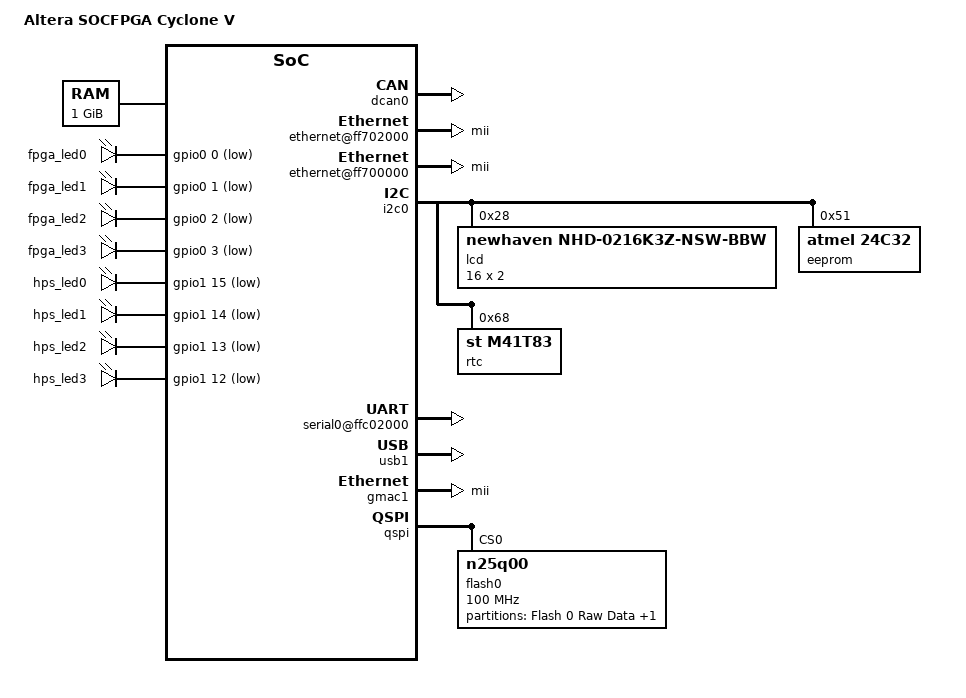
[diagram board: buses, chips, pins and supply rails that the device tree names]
/*
 * Copyright Altera Corporation (C) 2012,2014. All rights reserved.
 *
 * This program is free software; you can redistribute it and/or modify
 * it under the terms and conditions of the GNU General Public License,
 * version 2, as published by the Free Software Foundation.
 *
 * This program is distributed in the hope it will be useful, but WITHOUT
 * ANY WARRANTY; without even the implied warranty of MERCHANTABILITY or
 * FITNESS FOR A PARTICULAR PURPOSE.  See the GNU General Public License for
 * more details.
 *
 * You should have received a copy of the GNU General Public License along with
 * this program.  If not, see <http://www.gnu.org/licenses/>.
 */

/dts-v1/;
/include/ "socfpga.dtsi"

/ {
	model = "Altera SOCFPGA Cyclone V";
	compatible = "altr,socfpga-cyclone5", "altr,socfpga";

	chosen {
		bootargs = "console=ttyS0,57600 hw_dispid=45";
	};

	memory {
		name = "memory";
		device_type = "memory";
		reg = <0x0 0x40000000>; /* 1 GB */
	};

	aliases {
		/* this allow the ethaddr uboot environmnet variable contents
		 * to be added to the gmac1 device tree blob.
		 */
       		 ethernet1 = &gmac1;
       		 ethernet0 = &gmac0;
	};

	soc {
		ulti_sdc_0: ulti_sdc@0xFF230000 {
			compatible = "EXOR,ulti_sdc-13.1", "EXOR,ulti_sdc-1.0", "exor,ulti_sdc-1.0", "sdhci-ultimmc";
			reg = < 0xFF230000 0x0000ffff >;
			interrupt-parent = <&intc>;
			interrupts = < 0 43 4 >;
		}; //end ulti_sdc@0x100030000 (ulti_sdc_0)

		clkmgr@ffd04000 {
			clocks {
				osc1 {
					clock-frequency = <25000000>;
				};
			};
		};

		dcan0: d_can@ffc00000 {
			status = "okay";
		};

		dwmmc0@ff704000 {
			num-slots = <1>;
			supports-highspeed;
			broken-cd;
			altr,dw-mshc-ciu-div = <3>;
			altr,dw-mshc-sdr-timing = <0 3>;

			slot@0 {
				cd-gpios = <&gpio1 18 0>;
				reg = <0>;
				bus-width = <4>;
			};
		};

		ethernet@ff702000 {
			phy-mode = "mii";
			phy-addr = <0x01>;
			status = "okay";
			reset0 = <&agpio0 0 0>;
			reset1 = <&agpio0 1 0>;
		};

		ethernet@ff700000 {
			phy-mode = "mii";
			phy-addr = <0x00>;
			status = "okay";
		};

		gpio@ff708000 {
			status = "okay";
		};

		gpio@ff709000 {
			status = "okay";
		};

		gpio@ff70a000 {
			status = "okay";
		};

		agpio0: gpio@0xff210010 {
		  compatible = "altr,pio-1.0";
		  reg = <0xff210010 0x10>;
		  interrupts = <0 44 4>;
		  width=<32>;
		  altr,interrupt_type = < 4 >;
		  #gpio-cells = <2>;
		  gpio-controller;
		  #interrupt-cells = <1>;
		  interrupt-controller;
		};		

		i2c0: i2c@ffc04000 {
			speed-mode = <0>;
			status = "okay";
		};

		serial0@ffc02000 {
			status = "okay";
		};

		sysmgr@ffd08000 {
			cpu1-start-addr = <0xffd080c4>;
		};

		usb1: usb@ffb40000 {
			status = "okay";
		};

		watchdog0: wd@ffd02000 {
			status = "okay";
		};

		leds {
			compatible = "gpio-leds";
			fpga0 {
				label = "fpga_led0";
				gpios = <&gpio0 0 1>;
			};

			fpga1 {
				label = "fpga_led1";
				gpios = <&gpio0 1 1>;
			};

			fpga2 {
				label = "fpga_led2";
				gpios = <&gpio0 2 1>;
			};

			fpga3 {
				label = "fpga_led3";
				gpios = <&gpio0 3 1>;
			};

			hps0 {
				label = "hps_led0";
				gpios = <&gpio1 15 1>;
			};

			hps1 {
				label = "hps_led1";
				gpios = <&gpio1 14 1>;
			};

			hps2 {
				label = "hps_led2";
				gpios = <&gpio1 13 1>;
			};

			hps3 {
				label = "hps_led3";
				gpios = <&gpio1 12 1>;
			};
		};
	};
};

&i2c0 {
	/*
	 * adjust the falling times to decrease the i2c frequency to 50Khz
	 * because the LCD module does not work at the standard 100Khz
	 */
	i2c-sda-falling-time-ns = <5000>;
	i2c-scl-falling-time-ns = <5000>;

	lcd: lcd@28 {
		compatible = "newhaven,nhd-0216k3z-nsw-bbw";
		reg = <0x28>;
		height = <2>;
		width = <16>;
		brightness = <8>;
	};

	eeprom@51 {
		compatible = "atmel,24c32";
		reg = <0x51>;
		pagesize = <32>;
	};

	rtc@68 {
		compatible = "st,m41t83";
		reg = <0x68>;
	};
};

&gmac1 {
	phy-mode = "mii";
	snps,phy-addr = <0x01>;
	rxd0-skew-ps = <0>;
	rxd0-skew-ps = <0>;
	rxd1-skew-ps = <0>;
	rxd2-skew-ps = <0>;
	rxd3-skew-ps = <0>;
	txen-skew-ps = <0>;
	txc-skew-ps = <2600>;
	rxdv-skew-ps = <0>;
	rxc-skew-ps = <2000>;
	max-frame-size = <3800>;
	status = "okay";
};

&qspi {
	status = "okay";
	flash0: n25q00@0 {
		#address-cells = <1>;
		#size-cells = <1>;
		compatible = "n25q00";
		reg = <0>;      /* chip select */
		spi-max-frequency = <100000000>;
		m25p,fast-read;
		page-size = <256>;
		block-size = <16>; /* 2^16, 64KB */
		read-delay = <4>;  /* delay value in read data capture register */
		tshsl-ns = <50>;
		tsd2d-ns = <50>;
		tchsh-ns = <4>;
		tslch-ns = <4>;

		partition@qspi-boot {
		/* 8MB for raw data. */
		label = "Flash 0 Raw Data";
		reg = <0x0 0x800000>;
		};

		partition@qspi-rootfs {
		/* 120MB for jffs2 data. */
		label = "Flash 0 jffs2 Filesystem";
		reg = <0x800000 0x7800000>;
		};
	};
};
